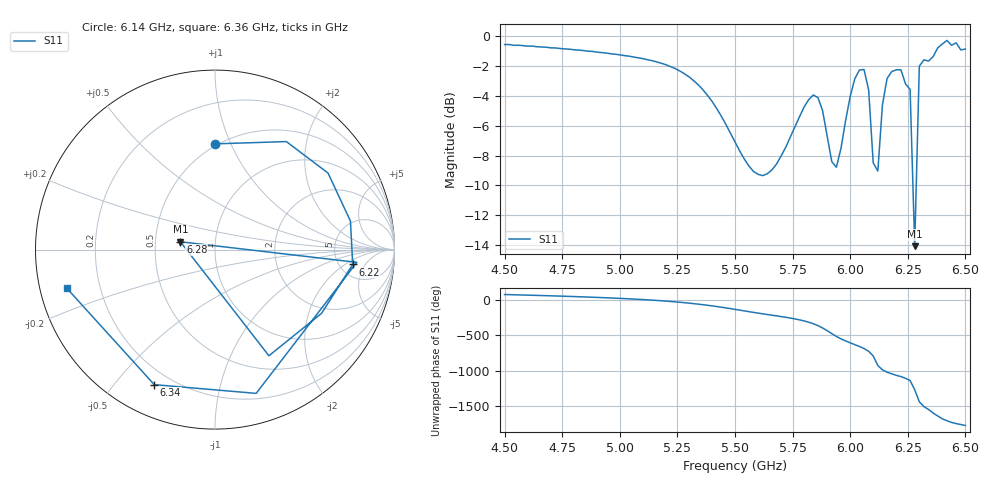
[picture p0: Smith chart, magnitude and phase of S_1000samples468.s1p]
! TOUCHSTONE file generated by CST MICROWAVE STUDIO
! Date and time: Fri Oct 28 06:40:27 2022
! Project name: L.cst
! Parameters = {Di=1.27; Epsilon_r=1.56; InnerDiameter=1.27; Length=2; Lf=10; Lg=60; OuterConductorThickness=0.2921; OuterDiameter=3.6; Wf=3; Wp=41.2; de=1.5; df=6.8; g=0.8; gx=4.02231; gy=2.24917; h=2.34; hf=1.524; px=11.3892; py=14.3218; w=9.7; wx=7.36689; wy=12.0726}
! Header version: 2018
! Port assignment regex: !\s*Touchstone port\s*([0-9]+)\s*=\s*(CST MWS port|CST DS port)\s*([0-9]+|Zmin|Zmax)\s*\(\"(.*)\"\)(\s*mode\s*([0-9]+))?.*
! Touchstone port assignment:
! Touchstone port 1 = CST MWS port 1 ("")
# GHz S DB R 50
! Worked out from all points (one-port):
!   101 points, 4.5 GHz to 6.5 GHz, reference 50 ohm
!   lowest |S11| = -14.1 dB at 6.28 GHz (marker M1), VSWR 1.49, Z = 33.7 + j3.07 ohm
!   |S11| at or under -10 dB: 6.272252 GHz to 6.286751 GHz (14.5 MHz wide, 0.231 % of centre)
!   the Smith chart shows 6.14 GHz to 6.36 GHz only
!   S11 on the Smith chart (normalised r, x): 6.14 GHz: 0.49, +0.88; 6.22 GHz: 6.63, -2.72; 6.28 GHz: 0.67, +0.06; 6.34 GHz: 0.14, -0.64; 6.36 GHz: 0.08, -0.13
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4.5  -0.57 82.0
4.76  -0.86 57.8
5  -1.25 27.5
5.26  -2.33 -27.5
5.38  -3.95 -70.4
5.5  -7.08 -128.9
5.76  -6.08 95.1
5.82  -4.25 48.1
5.86  -4.12 -0.5
5.9  -6.69 -72.3
5.96  -7.51 170.7
6  -4.04 114.5
6.06  -2.23 33.2
6.08  -3.60 -5.6
6.1  -8.49 -73.5
6.12  -9.04 151.0
6.14  -4.60 89.9
6.18  -2.38 34.1
6.22  -2.25 -6.2
6.26  -3.56 -63.1
6.28  -14.07 167.2
6.3  -2.01 -5.1
6.32  -1.58 -74.0
6.34  -1.67 -114.2
6.36  -1.37 -165.5
6.4  -0.52 112.4
6.42  -0.29 85.3
6.5  -0.86 18.0
